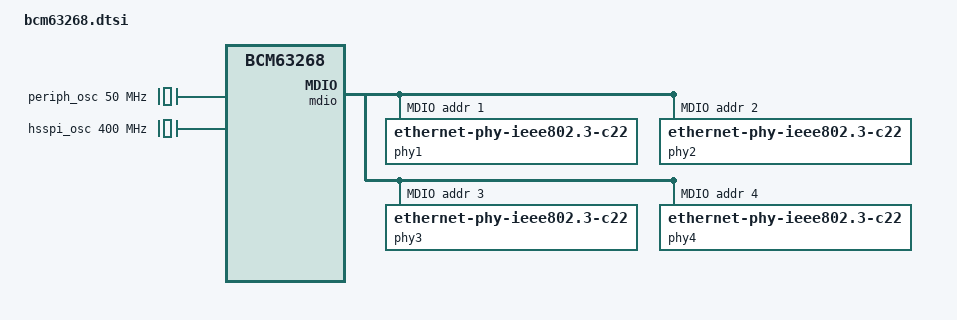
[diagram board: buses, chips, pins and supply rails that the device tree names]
// SPDX-License-Identifier: GPL-2.0-or-later

/dts-v1/;

#include <dt-bindings/clock/bcm63268-clock.h>
#include <dt-bindings/gpio/gpio.h>
#include <dt-bindings/input/input.h>
#include <dt-bindings/interrupt-controller/bcm63268-interrupt-controller.h>
#include <dt-bindings/reset/bcm63268-reset.h>
#include <dt-bindings/soc/bcm63268-pm.h>

/ {
	#address-cells = <1>;
	#size-cells = <1>;
	compatible = "brcm,bcm63268";

	aliases {
		nflash = &nflash;
		pinctrl = &pinctrl;
		serial0 = &uart0;
		serial1 = &uart1;
		spi0 = &lsspi;
		spi1 = &hsspi;
	};

	chosen {
		bootargs = "earlycon";
		stdout-path = "serial0:115200n8";
	};

	clocks {
		periph_osc: periph-osc {
			compatible = "fixed-clock";

			#clock-cells = <0>;

			clock-frequency = <50000000>;
			clock-output-names = "periph";
		};

		hsspi_osc: hsspi-osc {
			compatible = "fixed-clock";

			#clock-cells = <0>;

			clock-frequency = <400000000>;
			clock-output-names = "hsspi_osc";
		};
	};

	cpus {
		#address-cells = <1>;
		#size-cells = <0>;
		mips-hpt-frequency = <200000000>;

		cpu@0 {
			compatible = "brcm,bmips4350", "mips,mips4Kc";
			device_type = "cpu";
			reg = <0>;
		};

		cpu@1 {
			compatible = "brcm,bmips4350", "mips,mips4Kc";
			device_type = "cpu";
			reg = <1>;
		};
	};

	cpu_intc: interrupt-controller {
		#address-cells = <0>;
		compatible = "mti,cpu-interrupt-controller";

		interrupt-controller;
		#interrupt-cells = <1>;
	};

	memory@0 {
		device_type = "memory";
		reg = <0 0>;
	};

	ubus {
		#address-cells = <1>;
		#size-cells = <1>;

		compatible = "simple-bus";
		ranges;

		periph_clk: clock-controller@10000004 {
			compatible = "brcm,bcm63268-clocks";
			reg = <0x10000004 0x4>;
			#clock-cells = <1>;
		};

		pll_cntl: syscon@10000008 {
			compatible = "syscon", "simple-mfd";
			reg = <0x10000008 0x4>;
			native-endian;

			syscon-reboot {
				compatible = "syscon-reboot";
				offset = <0x0>;
				mask = <0x1>;
			};
		};

		periph_rst: reset-controller@10000010 {
			compatible = "brcm,bcm6345-reset";
			reg = <0x10000010 0x4>;
			#reset-cells = <1>;
		};

		ext_intc: interrupt-controller@10000018 {
			#address-cells = <1>;
			compatible = "brcm,bcm6345-ext-intc";
			reg = <0x10000018 0x4>;

			interrupt-controller;
			#interrupt-cells = <2>;

			interrupts = <BCM63268_IRQ_EXT0>,
				     <BCM63268_IRQ_EXT1>,
				     <BCM63268_IRQ_EXT2>,
				     <BCM63268_IRQ_EXT3>;
		};

		periph_intc: interrupt-controller@10000020 {
			#address-cells = <1>;
			compatible = "brcm,bcm6345-l1-intc";
			reg = <0x10000020 0x20>,
			      <0x10000040 0x20>;

			interrupt-controller;
			#interrupt-cells = <1>;

			interrupt-parent = <&cpu_intc>;
			interrupts = <2>, <3>;
		};

		wdt: watchdog@1000009c {
			compatible = "brcm,bcm7038-wdt";
			reg = <0x1000009c 0xc>;

			clocks = <&periph_osc>;

			timeout-sec = <30>;
		};

		timer_clk: clock-controller@100000ac {
			compatible = "brcm,bcm63268-timer-clocks";
			reg = <0x100000ac 0x4>;
			#clock-cells = <1>;
			#reset-cells = <1>;
		};

		gpio_cntl: syscon@100000c0 {
			compatible = "brcm,bcm63268-gpio-sysctl",
				     "syscon", "simple-mfd";
			reg = <0x100000c0 0x80>;
			ranges = <0 0x100000c0 0x80>;
			native-endian;

			gpio: gpio@0 {
				compatible = "brcm,bcm63268-gpio";
				reg-names = "dirout", "dat";
				reg = <0x0 0x8>, <0x8 0x8>;

				gpio-controller;
				gpio-ranges = <&pinctrl 0 0 52>;
				#gpio-cells = <2>;
			};

			pinctrl: pinctrl@10 {
				compatible = "brcm,bcm63268-pinctrl";
				reg = <0x10 0x4>, <0x18 0x8>, <0x38 0x4>;

				pinctrl_serial_led: serial_led-pins {
					pinctrl_serial_led_clk: serial_led_clk-pins {
						function = "serial_led_clk";
						pins = "gpio0";
					};

					pinctrl_serial_led_data: serial_led_data-pins {
						function = "serial_led_data";
						pins = "gpio1";
					};
				};

				pinctrl_hsspi_cs4: hsspi_cs4-pins {
					function = "hsspi_cs4";
					pins = "gpio16";
				};

				pinctrl_hsspi_cs5: hsspi_cs5-pins {
					function = "hsspi_cs5";
					pins = "gpio17";
				};

				pinctrl_hsspi_cs6: hsspi_cs6-pins {
					function = "hsspi_cs6";
					pins = "gpio8";
				};

				pinctrl_hsspi_cs7: hsspi_cs7-pins {
					function = "hsspi_cs7";
					pins = "gpio9";
				};

				pinctrl_adsl_spi: adsl_spi {
					pinctrl_adsl_spi_miso: adsl_spi_miso-pins {
						function = "adsl_spi_miso";
						pins = "gpio18";
					};

					pinctrl_adsl_spi_mosi: adsl_spi_mosi-pins {
						function = "adsl_spi_mosi";
						pins = "gpio19";
					};
				};

				pinctrl_vreq_clk: vreq_clk-pins {
					function = "vreq_clk";
					pins = "gpio22";
				};

				pinctrl_pcie_clkreq_b: pcie_clkreq_b-pins {
					function = "pcie_clkreq_b";
					pins = "gpio23";
				};

				pinctrl_robosw_led_clk: robosw_led_clk-pins {
					function = "robosw_led_clk";
					pins = "gpio30";
				};

				pinctrl_robosw_led_data: robosw_led_data-pins {
					function = "robosw_led_data";
					pins = "gpio31";
				};

				pinctrl_nand: nand-pins {
					function = "nand";
					group = "nand_grp";
				};

				pinctrl_gpio35_alt: gpio35_alt-pins {
					function = "gpio35_alt";
					pin = "gpio35";
				};

				pinctrl_dectpd: dectpd-pins {
					function = "dectpd";
					group = "dectpd_grp";
				};

				pinctrl_vdsl_phy_override_0: vdsl_phy_override_0-pins {
					function = "vdsl_phy_override_0";
					group = "vdsl_phy_override_0_grp";
				};

				pinctrl_vdsl_phy_override_1: vdsl_phy_override_1-pins {
					function = "vdsl_phy_override_1";
					group = "vdsl_phy_override_1_grp";
				};

				pinctrl_vdsl_phy_override_2: vdsl_phy_override_2-pins {
					function = "vdsl_phy_override_2";
					group = "vdsl_phy_override_2_grp";
				};

				pinctrl_vdsl_phy_override_3: vdsl_phy_override_3-pins {
					function = "vdsl_phy_override_3";
					group = "vdsl_phy_override_3_grp";
				};

				pinctrl_dsl_gpio8: dsl_gpio8-pins {
					function = "dsl_gpio8";
					group = "dsl_gpio8";
				};

				pinctrl_dsl_gpio9: dsl_gpio9-pins {
					function = "dsl_gpio9";
					group = "dsl_gpio9";
				};
			};
		};

		uart0: serial@10000180 {
			compatible = "brcm,bcm6345-uart";
			reg = <0x10000180 0x18>;

			interrupt-parent = <&periph_intc>;
			interrupts = <BCM63268_IRQ_UART0>;

			clocks = <&periph_osc>;
			clock-names = "periph";

			status = "disabled";
		};

		uart1: serial@100001a0 {
			compatible = "brcm,bcm6345-uart";
			reg = <0x100001a0 0x18>;

			interrupt-parent = <&periph_intc>;
			interrupts = <BCM63268_IRQ_UART1>;

			clocks = <&periph_osc>;
			clock-names = "periph";

			status = "disabled";
		};

		nflash: nand@10000200 {
			#address-cells = <1>;
			#size-cells = <0>;
			compatible = "brcm,nand-bcm6368",
				     "brcm,brcmnand-v4.0",
				     "brcm,brcmnand";
			reg = <0x10000200 0x180>,
			      <0x10000600 0x200>,
			      <0x100000b0 0x10>;
			reg-names = "nand",
				    "nand-cache",
				    "nand-int-base";

			interrupt-parent = <&periph_intc>;
			interrupts = <BCM63268_IRQ_NAND>;

			clocks = <&periph_clk BCM63268_CLK_NAND>;
			clock-names = "nand";

			pinctrl-names = "default";
			pinctrl-0 = <&pinctrl_nand>;

			status = "disabled";
		};

		lsspi: spi@10000800 {
			#address-cells = <1>;
			#size-cells = <0>;
			compatible = "brcm,bcm6358-spi";
			reg = <0x10000800 0x70c>;

			interrupt-parent = <&periph_intc>;
			interrupts = <BCM63268_IRQ_LSSPI>;

			clocks = <&periph_clk BCM63268_CLK_SPI>;
			clock-names = "spi";

			resets = <&periph_rst BCM63268_RST_SPI>;

			status = "disabled";
		};

		hsspi: spi@10001000 {
			#address-cells = <1>;
			#size-cells = <0>;
			compatible = "brcm,bcm6328-hsspi";
			reg = <0x10001000 0x600>;

			interrupt-parent = <&periph_intc>;
			interrupts = <BCM63268_IRQ_HSSPI>;

			clocks = <&periph_clk BCM63268_CLK_HSSPI>,
				 <&hsspi_osc>;
			clock-names = "hsspi",
				      "pll";

			resets = <&periph_rst BCM63268_RST_SPI>;

			status = "disabled";
		};

		serdes_cntl: syscon@10001804 {
			compatible = "syscon";
			reg = <0x10001804 0x4>;
			native-endian;
		};

		periph_pwr: power-controller@1000184c {
			compatible = "brcm,bcm63268-power-controller";
			reg = <0x1000184c 0x4>;
			#power-domain-cells = <1>;
		};

		leds: led-controller@10001900 {
			#address-cells = <1>;
			#size-cells = <0>;
			compatible = "brcm,bcm6328-leds";
			reg = <0x10001900 0x24>;

			status = "disabled";
		};

		ehci: usb@10002500 {
			compatible = "brcm,bcm63268-ehci", "generic-ehci";
			reg = <0x10002500 0x100>;
			big-endian;
			spurious-oc;

			interrupt-parent = <&periph_intc>;
			interrupts = <BCM63268_IRQ_EHCI>;

			phys = <&usbh 0>;
			phy-names = "usb";

			status = "disabled";
		};

		ohci: usb@10002600 {
			compatible = "brcm,bcm63268-ohci", "generic-ohci";
			reg = <0x10002600 0x100>;
			big-endian;
			no-big-frame-no;

			interrupt-parent = <&periph_intc>;
			interrupts = <BCM63268_IRQ_OHCI>;

			phys = <&usbh 0>;
			phy-names = "usb";

			status = "disabled";
		};

		usbh: usb-phy@10002700 {
			compatible = "brcm,bcm63268-usbh-phy";
			reg = <0x10002700 0x38>;

			#phy-cells = <1>;

			clocks = <&periph_clk BCM63268_CLK_USBH>,
				 <&timer_clk BCM63268_TCLK_USB_REF>;
			clock-names = "usbh",
				      "usb_ref";

			power-domains = <&periph_pwr BCM63268_POWER_DOMAIN_USBH>;
			resets = <&periph_rst BCM63268_RST_USBH>;

			status = "disabled";
		};

		ethernet: ethernet@1000d800 {
			compatible = "brcm,bcm63268-enetsw";
			reg = <0x1000d800 0x80>,
			      <0x1000da00 0x80>,
			      <0x1000dc00 0x80>;
			reg-names = "dma",
				    "dma-channels",
				    "dma-sram";

			interrupt-parent = <&periph_intc>;
			interrupts = <BCM63268_IRQ_ENETSW_RX_DMA0>,
				     <BCM63268_IRQ_ENETSW_TX_DMA0>;
			interrupt-names = "rx",
					  "tx";

			clocks = <&periph_clk BCM63268_CLK_GMAC>,
				 <&periph_clk BCM63268_CLK_ROBOSW>,
				 <&periph_clk BCM63268_CLK_ROBOSW250>,
				 <&timer_clk BCM63268_TCLK_EPHY1>,
				 <&timer_clk BCM63268_TCLK_EPHY2>,
				 <&timer_clk BCM63268_TCLK_EPHY3>,
				 <&timer_clk BCM63268_TCLK_GPHY1>;

			resets = <&periph_rst BCM63268_RST_ENETSW>,
				 <&periph_rst BCM63268_RST_EPHY>,
				 <&periph_rst BCM63268_RST_GPHY>;

			power-domains = <&periph_pwr BCM63268_POWER_DOMAIN_ROBOSW>;

			dma-rx = <0>;
			dma-tx = <1>;

			status = "disabled";
		};

		pcie: pcie@106e0000 {
			compatible = "brcm,bcm6328-pcie";
			reg = <0x106e0000 0x10000>;
			#address-cells = <3>;
			#size-cells = <2>;

			device_type = "pci";
			bus-range = <0x00 0x01>;
			ranges = <0x2000000 0 0x11000000 0x11000000 0 0xf00000>;
			linux,pci-probe-only = <1>;

			interrupt-parent = <&periph_intc>;
			interrupts = <BCM63268_IRQ_PCIE_RC>;

			clocks = <&periph_clk BCM63268_CLK_PCIE>;
			clock-names = "pcie";

			resets = <&periph_rst BCM63268_RST_PCIE>,
				 <&periph_rst BCM63268_RST_PCIE_EXT>,
				 <&periph_rst BCM63268_RST_PCIE_CORE>,
				 <&periph_rst BCM63268_RST_PCIE_HARD>;
			reset-names = "pcie",
				      "pcie-ext",
				      "pcie-core",
				      "pcie-hard";

			power-domains = <&periph_pwr BCM63268_POWER_DOMAIN_PCIE>;

			brcm,serdes = <&serdes_cntl>;

			status = "disabled";
		};

		switch0: switch@10700000 {
			#address-cells = <1>;
			#size-cells = <0>;
			compatible = "brcm,bcm6328-switch";
			reg = <0x10700000 0x8000>;
			big-endian;

			ports {
				#address-cells = <1>;
				#size-cells = <0>;

				port@8 {
					reg = <8>;
					label = "cpu";

					phy-mode = "internal";
					ethernet = <&ethernet>;

					fixed-link {
						speed = <1000>;
						full-duplex;
					};
				};
			};
		};

		mdio: mdio@107000b0 {
			#address-cells = <1>;
			#size-cells = <0>;
			compatible = "brcm,bcm6368-mdio-mux";
			reg = <0x107000b0 0x8>;

			mdio_int: mdio@0 {
				#address-cells = <1>;
				#size-cells = <0>;
				reg = <0>;

				phy1: ethernet-phy@1 {
					compatible = "ethernet-phy-ieee802.3-c22";
					reg = <1>;
				};

				phy2: ethernet-phy@2 {
					compatible = "ethernet-phy-ieee802.3-c22";
					reg = <2>;
				};

				phy3: ethernet-phy@3 {
					compatible = "ethernet-phy-ieee802.3-c22";
					reg = <3>;
				};

				phy4: ethernet-phy@4 {
					compatible = "ethernet-phy-ieee802.3-c22";
					reg = <4>;
				};
			};

			mdio_ext: mdio@1 {
				#address-cells = <1>;
				#size-cells = <0>;
				reg = <1>;
			};
		};
	};
};
